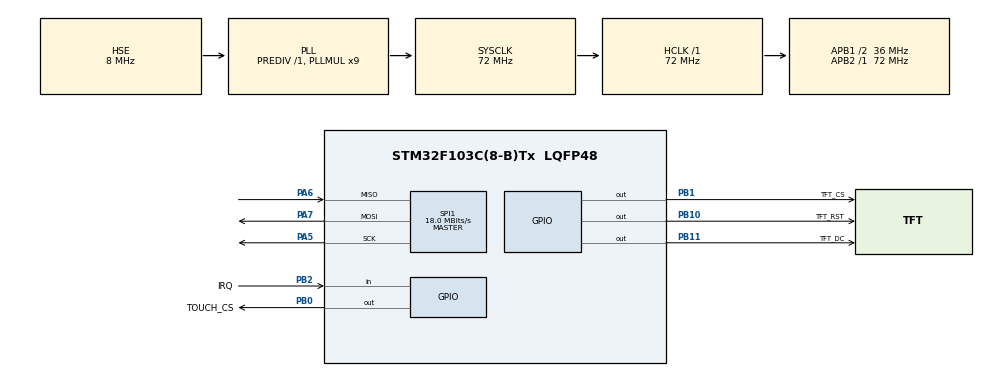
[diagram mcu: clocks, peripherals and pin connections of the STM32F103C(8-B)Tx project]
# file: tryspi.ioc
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Dma.Request0=SPI1_TX
Dma.SPI1_TX.0.Direction=DMA_MEMORY_TO_PERIPH
Dma.SPI1_TX.0.Instance=DMA1_Channel3
Dma.SPI1_TX.0.MemDataAlignment=DMA_MDATAALIGN_BYTE
Dma.SPI1_TX.0.MemInc=DMA_MINC_ENABLE
Dma.SPI1_TX.0.Mode=DMA_NORMAL
Dma.SPI1_TX.0.PeriphDataAlignment=DMA_PDATAALIGN_BYTE
Dma.SPI1_TX.0.PeriphInc=DMA_PINC_DISABLE
Dma.SPI1_TX.0.Priority=DMA_PRIORITY_LOW
Mcu.Family=STM32F1
Mcu.Name=STM32F103C(8-B)Tx
Mcu.Package=LQFP48
NVIC.DMA1_Channel3_IRQn=true\:0\:0\:false\:false\:true\:false\:true\:true
NVIC.PriorityGroup=NVIC_PRIORITYGROUP_4
PA13.Mode=Serial_Wire
PA13.Signal=SYS_JTMS-SWDIO
PA14.Mode=Serial_Wire
PA14.Signal=SYS_JTCK-SWCLK
PA5.Mode=Full_Duplex_Master
PA5.Signal=SPI1_SCK
PA6.Mode=Full_Duplex_Master
PA6.Signal=SPI1_MISO
PA7.Mode=Full_Duplex_Master
PA7.Signal=SPI1_MOSI
PB0.GPIO_Label=TOUCH_CS
PB0.Signal=GPIO_Output
PB1.GPIO_Label=TFT_CS
PB1.Signal=GPIO_Output
PB10.GPIO_Label=TFT_RST
PB10.Signal=GPIO_Output
PB11.GPIO_Label=TFT_DC
PB11.Signal=GPIO_Output
PB2.GPIO_Label=IRQ
PB2.Signal=GPIO_Input
PD0-OSC_IN.Mode=HSE-External-Oscillator
PD0-OSC_IN.Signal=RCC_OSC_IN
PD1-OSC_OUT.Mode=HSE-External-Oscillator
PD1-OSC_OUT.Signal=RCC_OSC_OUT
ProjectManager.HeapSize=0x200
ProjectManager.StackSize=0x400
ProjectManager.TargetToolchain=STM32CubeIDE
RCC.AHBFreq_Value=72000000
RCC.APB1CLKDivider=RCC_HCLK_DIV2
RCC.APB1Freq_Value=36000000
RCC.APB1TimFreq_Value=72000000
RCC.APB2Freq_Value=72000000
RCC.APB2TimFreq_Value=72000000
RCC.HCLKFreq_Value=72000000
RCC.PLLMUL=RCC_PLL_MUL9
RCC.PLLSourceVirtual=RCC_PLLSOURCE_HSE
RCC.SYSCLKFreq_VALUE=72000000
RCC.SYSCLKSource=RCC_SYSCLKSOURCE_PLLCLK
RCC.USBFreq_Value=72000000
SPI1.BaudRatePrescaler=SPI_BAUDRATEPRESCALER_4
SPI1.CalculateBaudRate=18.0 MBits/s
SPI1.Direction=SPI_DIRECTION_2LINES
SPI1.Mode=SPI_MODE_MASTER
SPI1.VirtualType=VM_MASTER
board=custom

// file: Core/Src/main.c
/* USER CODE BEGIN Header */
/**
  ******************************************************************************
  * @file           : main.c
  * @brief          : Main program body
  ******************************************************************************
  * @attention
  *
  * Copyright (c) 2022 STMicroelectronics.
  * All rights reserved.
  *
  * This software is licensed under terms that can be found in the LICENSE file
  * in the root directory of this software component.
  * If no LICENSE file comes with this software, it is provided AS-IS.
  *
  ******************************************************************************
  */
/* USER CODE END Header */
#include "main.h"

/* USER CODE BEGIN Includes */
#include "ILI9341_GFX.h"
#include "fonts.h"
//#include "img.h"
#include "xpt2046_touch.h"
/* USER CODE END Includes */

SPI_HandleTypeDef hspi1;
DMA_HandleTypeDef hdma_spi1_tx;

void SystemClock_Config(void);
static void MX_GPIO_Init(void);
static void MX_DMA_Init(void);
static void MX_SPI1_Init(void);

int main(void)
{

  /* MCU Configuration--------------------------------------------------------*/

  /* Reset of all peripherals, Initializes the Flash interface and the Systick. */
  HAL_Init();

  /* Configure the system clock */
  SystemClock_Config();

  /* Initialize all configured peripherals */
  MX_GPIO_Init();
  MX_DMA_Init();
  MX_SPI1_Init();
  /* USER CODE BEGIN 2 */
  ILI9341_Init();

    // Simple Text writing (Text, Font, X, Y, Color, BackColor)
    // Available Fonts are FONT1, FONT2, FONT3 and FONT4
    ILI9341_FillScreen(RED);
    ILI9341_SetRotation(SCREEN_HORIZONTAL_2);
    ILI9341_DrawText("HELLO WORLD", FONT4, 90, 110, BLACK, WHITE);
    HAL_Delay(1000);

    //Writing numbers
    ILI9341_FillScreen(WHITE);
    static char BufferText[30];
    for(uint8_t i = 0; i <= 5; i++)
    {
      sprintf(BufferText, "COUNT : %d", i);
      ILI9341_DrawText(BufferText, FONT3, 10, 10, BLACK, WHITE);
      ILI9341_DrawText(BufferText, FONT3, 10, 30, BLUE, WHITE);
      ILI9341_DrawText(BufferText, FONT3, 10, 50, RED, WHITE);
      ILI9341_DrawText(BufferText, FONT3, 10, 70, GREEN, WHITE);
      ILI9341_DrawText(BufferText, FONT3, 10, 90, YELLOW, WHITE);
      ILI9341_DrawText(BufferText, FONT3, 10, 110, PURPLE, WHITE);
      ILI9341_DrawText(BufferText, FONT3, 10, 130, ORANGE, WHITE);
      ILI9341_DrawText(BufferText, FONT3, 10, 150, MAROON, WHITE);
      ILI9341_DrawText(BufferText, FONT3, 10, 170, WHITE, BLACK);
      ILI9341_DrawText(BufferText, FONT3, 10, 190, BLUE, BLACK);
    }
  /* USER CODE END 2 */

  /* Infinite loop */
  while (1)
  {

  }
}

void SystemClock_Config(void)
{
  RCC_OscInitTypeDef RCC_OscInitStruct = {0};
  RCC_ClkInitTypeDef RCC_ClkInitStruct = {0};

  /** Initializes the RCC Oscillators according to the specified parameters
  * in the RCC_OscInitTypeDef structure.
  */
  RCC_OscInitStruct.OscillatorType = RCC_OSCILLATORTYPE_HSE;
  RCC_OscInitStruct.HSEState = RCC_HSE_ON;
  RCC_OscInitStruct.HSEPredivValue = RCC_HSE_PREDIV_DIV1;
  RCC_OscInitStruct.HSIState = RCC_HSI_ON;
  RCC_OscInitStruct.PLL.PLLState = RCC_PLL_ON;
  RCC_OscInitStruct.PLL.PLLSource = RCC_PLLSOURCE_HSE;
  RCC_OscInitStruct.PLL.PLLMUL = RCC_PLL_MUL9;
  if (HAL_RCC_OscConfig(&RCC_OscInitStruct) != HAL_OK)
  {
    Error_Handler();
  }

  /** Initializes the CPU, AHB and APB buses clocks
  */
  RCC_ClkInitStruct.ClockType = RCC_CLOCKTYPE_HCLK|RCC_CLOCKTYPE_SYSCLK
                              |RCC_CLOCKTYPE_PCLK1|RCC_CLOCKTYPE_PCLK2;
  RCC_ClkInitStruct.SYSCLKSource = RCC_SYSCLKSOURCE_PLLCLK;
  RCC_ClkInitStruct.AHBCLKDivider = RCC_SYSCLK_DIV1;
  RCC_ClkInitStruct.APB1CLKDivider = RCC_HCLK_DIV2;
  RCC_ClkInitStruct.APB2CLKDivider = RCC_HCLK_DIV1;

  if (HAL_RCC_ClockConfig(&RCC_ClkInitStruct, FLASH_LATENCY_2) != HAL_OK)
  {
    Error_Handler();
  }
}

static void MX_SPI1_Init(void)
{

  /* SPI1 parameter configuration*/
  hspi1.Instance = SPI1;
  hspi1.Init.Mode = SPI_MODE_MASTER;
  hspi1.Init.Direction = SPI_DIRECTION_2LINES;
  hspi1.Init.DataSize = SPI_DATASIZE_8BIT;
  hspi1.Init.CLKPolarity = SPI_POLARITY_LOW;
  hspi1.Init.CLKPhase = SPI_PHASE_1EDGE;
  hspi1.Init.NSS = SPI_NSS_SOFT;
  hspi1.Init.BaudRatePrescaler = SPI_BAUDRATEPRESCALER_4;
  hspi1.Init.FirstBit = SPI_FIRSTBIT_MSB;
  hspi1.Init.TIMode = SPI_TIMODE_DISABLE;
  hspi1.Init.CRCCalculation = SPI_CRCCALCULATION_DISABLE;
  hspi1.Init.CRCPolynomial = 10;
  if (HAL_SPI_Init(&hspi1) != HAL_OK)
  {
    Error_Handler();
  }

}

static void MX_DMA_Init(void)
{

  /* DMA controller clock enable */
  __HAL_RCC_DMA1_CLK_ENABLE();

  /* DMA interrupt init */
  /* DMA1_Channel3_IRQn interrupt configuration */
  HAL_NVIC_SetPriority(DMA1_Channel3_IRQn, 0, 0);
  HAL_NVIC_EnableIRQ(DMA1_Channel3_IRQn);

}

static void MX_GPIO_Init(void)
{
  GPIO_InitTypeDef GPIO_InitStruct = {0};

  /* GPIO Ports Clock Enable */
  __HAL_RCC_GPIOD_CLK_ENABLE();
  __HAL_RCC_GPIOA_CLK_ENABLE();
  __HAL_RCC_GPIOB_CLK_ENABLE();

  /*Configure GPIO pin Output Level */
  HAL_GPIO_WritePin(GPIOB, TOUCH_CS_Pin|LCD_CS_PIN|LCD_RST_PIN|LCD_DC_PIN, GPIO_PIN_RESET);

  /*Configure GPIO pins : TOUCH_CS_Pin TFT_CS_Pin TFT_RST_Pin TFT_DC_Pin */
  GPIO_InitStruct.Pin = TOUCH_CS_Pin|LCD_CS_PIN|LCD_RST_PIN|LCD_DC_PIN;
  GPIO_InitStruct.Mode = GPIO_MODE_OUTPUT_PP;
  GPIO_InitStruct.Pull = GPIO_NOPULL;
  GPIO_InitStruct.Speed = GPIO_SPEED_FREQ_LOW;
  HAL_GPIO_Init(GPIOB, &GPIO_InitStruct);

  /*Configure GPIO pin : IRQ_Pin */
  GPIO_InitStruct.Pin = IRQ_Pin;
  GPIO_InitStruct.Mode = GPIO_MODE_INPUT;
  GPIO_InitStruct.Pull = GPIO_NOPULL;
  HAL_GPIO_Init(IRQ_GPIO_Port, &GPIO_InitStruct);

}

void Error_Handler(void)
{
  __disable_irq();
  while (1)
  {
  }
}
